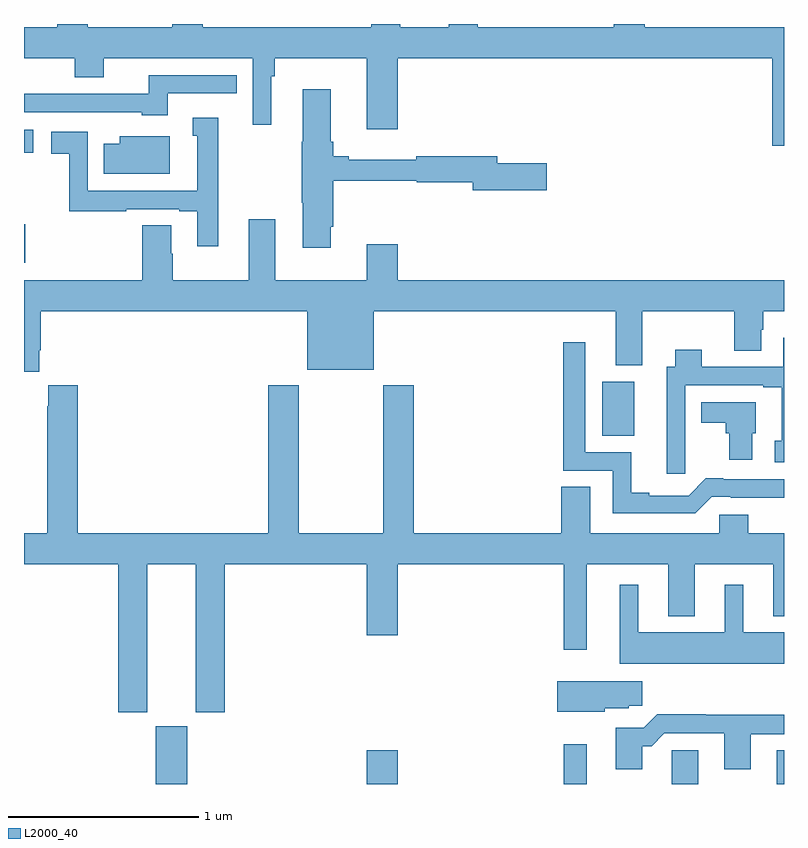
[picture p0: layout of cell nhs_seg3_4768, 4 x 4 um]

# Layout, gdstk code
import gdstk
lib = gdstk.Library(unit=1e-6, precision=1e-09)
def R(c, l, rs):  # rectangles x0, y0, x1, y1
    for r in rs: c.add(gdstk.rectangle(r[:2], r[2:], *l))
def P(c, l, *ps):  # polygons
    for p in ps: c.add(gdstk.Polygon(p, *l))
L2000_40 = (2000, 40)

nhs_seg3_4768 = lib.new_cell('nhs_seg3_4768')
R(nhs_seg3_4768, L2000_40, [(367.694,726.4,367.858,726.705), (368.804,726.4,368.968,726.577), (369.84,726.4,369.961,726.61), (370.41,726.4,370.549,726.578), (370.961,726.4,371,726.578), (370.043,728.234,370.213,728.518), (367,729.144,367.007,729.347), (367,729.723,367.048,729.844)])
P(nhs_seg3_4768, L2000_40, [(371,730.384),(370.268,730.384),(370.268,730.4),(370.103,730.4),(370.103,730.384),(369.389,730.384),(369.389,730.4),(369.236,730.4),(369.236,730.384),(368.98,730.384),(368.98,730.4),(368.828,730.4),(368.828,730.384),(367.94,730.384),(367.94,730.4),(367.78,730.4),(367.78,730.384),(367.335,730.384),(367.335,730.4),(367.175,730.4),(367.175,730.384),(367,730.384),(367,730.22),(367.268,730.22),(367.268,730.121),(367.42,730.121),(367.42,730.22),(368.205,730.22),(368.205,729.87),(368.302,729.87),(368.302,730.124),(368.321,730.124),(368.321,730.22),(368.804,730.22),(368.804,729.846),(368.968,729.846),(368.968,730.22),(370.937,730.22),(370.937,729.759),(371,729.759)],
  [(367.756,730.035),(368.12,730.035),(368.12,730.131),(367.657,730.131),(367.657,730.032),(367.184,730.032),(367.184,730.034),(367,730.034),(367,729.936),(367.62,729.936),(367.62,729.92),(367.756,729.92)],
  [(368.614,729.334),(368.627,729.334),(368.627,729.576),(369.066,729.576),(369.066,729.568),(369.362,729.568),(369.362,729.526),(369.751,729.526),(369.751,729.668),(369.49,729.668),(369.49,729.704),(369.064,729.704),(369.064,729.685),(368.71,729.685),(368.71,729.704),(368.627,729.704),(368.627,729.781),(368.614,729.781),(368.614,730.057),(368.468,730.057),(368.468,729.781),(368.461,729.781),(368.461,729.46),(368.468,729.46),(368.468,729.222),(368.614,729.222)],
  [(368.023,729.907),(367.889,729.907),(367.889,729.813),(367.913,729.813),(367.913,729.522),(367.335,729.522),(367.335,729.834),(367.143,729.834),(367.143,729.718),(367.237,729.718),(367.237,729.414),(367.538,729.414),(367.538,729.426),(367.817,729.426),(367.817,729.414),(367.913,729.414),(367.913,729.231),(368.023,729.231)],
  [(367.768,729.808),(367.505,729.808),(367.505,729.769),(367.42,729.769),(367.42,729.611),(367.768,729.611)],
  [(367.081,728.683),(367.088,728.683),(367.088,728.888),(368.492,728.888),(368.492,728.579),(368.842,728.579),(368.842,728.888),(370.115,728.888),(370.115,728.603),(370.255,728.603),(370.255,728.888),(370.739,728.888),(370.739,728.68),(370.879,728.68),(370.879,728.79),(370.892,728.79),(370.892,728.888),(371,728.888),(371,729.052),(368.968,729.052),(368.968,729.241),(368.804,729.241),(368.804,729.052),(368.323,729.052),(368.323,729.373),(368.183,729.373),(368.183,729.052),(367.782,729.052),(367.782,729.191),(367.774,729.191),(367.774,729.341),(367.622,729.341),(367.622,729.052),(367,729.052),(367,728.571),(367.081,728.571)],
  [(370.481,728.274),(370.479,728.274),(370.479,728.499),(370.892,728.499),(370.892,728.487),(370.988,728.487),(370.988,728.207),(370.952,728.207),(370.952,728.094),(371,728.094),(371,728.749),(370.995,728.749),(370.995,728.595),(370.567,728.595),(370.567,728.686),(370.427,728.686),(370.427,728.595),(370.382,728.595),(370.382,728.034),(370.481,728.034)],
  [(370.62,727.911),(370.72,727.911),(370.72,727.907),(371,727.907),(371,728.004),(370.681,728.004),(370.681,728.009),(370.589,728.009),(370.498,727.918),(370.291,727.918),(370.291,727.933),(370.196,727.933),(370.196,728.145),(369.954,728.145),(369.954,728.725),(369.838,728.725),(369.838,728.049),(370.098,728.049),(370.098,727.824),(370.533,727.824)],
  [(367.127,728.5),(367.127,728.387),(367.123,728.387),(367.123,727.72),(367,727.72),(367,727.556),(367.496,727.556),(367.496,726.777),(367.648,726.777),(367.648,727.556),(367.904,727.556),(367.904,726.777),(368.057,726.777),(368.057,727.556),(368.804,727.556),(368.804,727.182),(368.968,727.182),(368.968,727.556),(369.84,727.556),(369.84,727.107),(369.961,727.107),(369.961,727.556),(370.391,727.556),(370.391,727.283),(370.531,727.283),(370.531,727.556),(370.943,727.556),(370.943,727.283),(371,727.283),(371,727.72),(370.811,727.72),(370.811,727.818),(370.659,727.818),(370.659,727.72),(369.979,727.72),(369.979,727.964),(369.827,727.964),(369.827,727.72),(369.05,727.72),(369.05,728.5),(368.89,728.5),(368.89,727.72),(368.445,727.72),(368.445,728.5),(368.285,728.5),(368.285,727.72),(367.283,727.72),(367.283,728.5)],
  [(370.834,728.247),(370.852,728.247),(370.852,728.409),(370.564,728.409),(370.564,728.301),(370.694,728.301),(370.694,728.247),(370.712,728.247),(370.712,728.106),(370.834,728.106)],
  [(371,727.198),(370.786,727.198),(370.786,727.45),(370.688,727.45),(370.688,727.198),(370.234,727.198),(370.234,727.45),(370.136,727.45),(370.136,727.034),(371,727.034)],
  [(370.056,726.8),(370.182,726.8),(370.182,726.811),(370.255,726.811),(370.255,726.94),(369.806,726.94),(369.806,726.779),(370.056,726.779)],
  [(370.255,726.599),(370.304,726.599),(370.371,726.666),(370.685,726.666),(370.685,726.477),(370.825,726.477),(370.825,726.663),(371,726.663),(371,726.764),(370.589,726.764),(370.589,726.767),(370.334,726.767),(370.263,726.696),(370.115,726.696),(370.115,726.477),(370.255,726.477)])

lib.write_gds('nhs_seg3_4768.gds')
